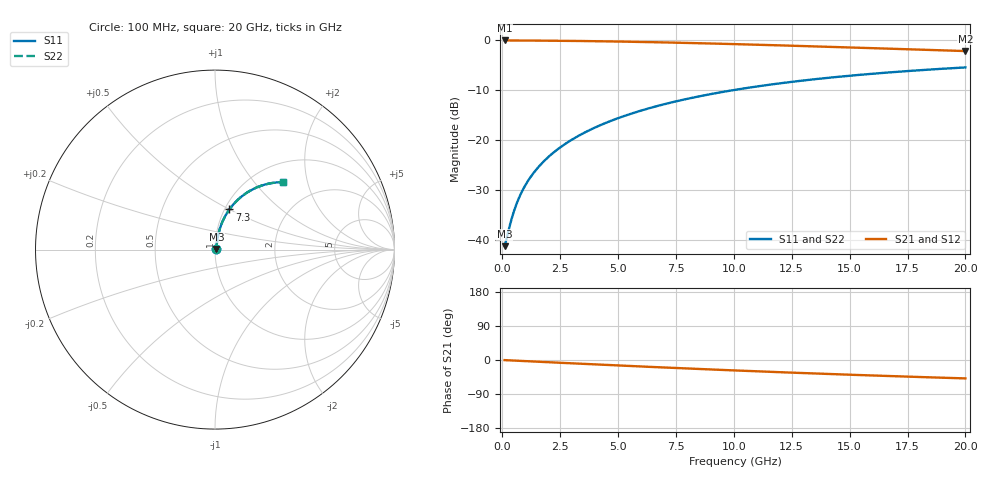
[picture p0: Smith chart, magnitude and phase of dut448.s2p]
! Touchstone file exported from HFSS 2024.1.0
!  File:  C:/UserFiles/LocalFiles/RDL_TSV_Batchsim/temp_RDL_bottom_448_1779684992.aedt
!  Generated:  12:59:03 PM May 25, 2026
!  Design:  RDL_bottom
!  Project:  temp_RDL_bottom_448_1779684992
!  Setup:  Setup1
!  Solution:  Sweep
! Variables:
!  dtsv = 10.80580581um
!  hbump = 3um
!  htsv = 77.72um
!  ldown = 609.54um
!  lrdl = 100um
!  p = 40
!  p1 = 52.73um
!  rhole = 1um
!  t = 450um
!  tdown = 2.14um
!  trdl = 3.915915916um
!  wdown = 12.87um
!  wrdl = 20um
# GHz S MA R 50.000000
! Terminal data exported
! Port[1] = RDL1_T1
! Port[2] = RDL1_T2
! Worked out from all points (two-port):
!   200 points, 100 MHz to 20 GHz, reference 50 ohm
!   highest |S21| = -0.07 dB at 100 MHz (marker M1); lowest = -2.2 dB at 20 GHz (marker M2)
!   |S21| within 3 dB of the highest: start of sweep to end of sweep
!   lowest |S11| = -41.3 dB at 100 MHz (marker M3), VSWR 1.02, Z = 50.8 + j0.354 ohm
!   |S11| at or under -10 dB: start of sweep to 9.995 GHz
!   |S22| runs from -41.3 to -5.5 dB; largest |S21 - S12| = 2.6e-15
!   S11 on the Smith chart (normalised r, x): 100 MHz: 1.02, +0.01; 7.3 GHz: 1.05, +0.50; 20 GHz: 1.36, +1.42
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0.1  0.00865 23.7  0.9921 -0.3  0.9921 -0.3  0.00865 23.7
! Gamma 0 0 0 0
! Port Impedance 50 0 50 0
0.4  0.01616 58.9  0.9917 -1.2  0.9917 -1.2  0.01616 58.9
0.6  0.02244 66.7  0.9913 -1.8  0.9913 -1.8  0.02244 66.7
0.7  0.02565 69.0  0.991 -2.1  0.991 -2.1  0.02565 69.0
0.9  0.03213 72.2  0.9905 -2.7  0.9905 -2.7  0.03213 72.2
1.2  0.04188 74.8  0.9896 -3.6  0.9896 -3.6  0.04188 74.8
1.4  0.04839 75.8  0.989 -4.1  0.989 -4.1  0.04839 75.8
1.7  0.05816 76.8  0.9879 -5.0  0.9879 -5.0  0.05816 76.8
2.2  0.07447 77.5  0.9859 -6.5  0.9859 -6.5  0.07447 77.5
2.8  0.09406 77.6  0.983 -8.2  0.983 -8.2  0.09406 77.6
3.5  0.1169 77.0  0.9789 -10.2  0.9789 -10.2  0.1169 77.0
4.2  0.1396 76.1  0.9741 -12.2  0.9741 -12.2  0.1396 76.1
5  0.1654 74.8  0.9677 -14.4  0.9677 -14.4  0.1654 74.8
5.9  0.194 73.1  0.9595 -16.9  0.9595 -16.9  0.194 73.1
6.8  0.2222 71.3  0.9504 -19.3  0.9504 -19.3  0.2222 71.4
7.3  0.2375 70.3  0.945 -20.6  0.945 -20.6  0.2375 70.3
8.6  0.2764 67.5  0.93 -24.0  0.93 -24.0  0.2764 67.6
10.1  0.3191 64.3  0.9111 -27.7  0.9111 -27.7  0.3192 64.3
11.7  0.3618 60.9  0.8899 -31.5  0.8899 -31.5  0.3619 60.9
13.4  0.4038 57.3  0.8666 -35.4  0.8666 -35.4  0.4038 57.3
16.7  0.4748 50.8  0.8209 -42.3  0.8209 -42.3  0.4748 50.8
20  0.5328 44.8  0.7769 -48.6  0.7769 -48.6  0.5329 44.8
